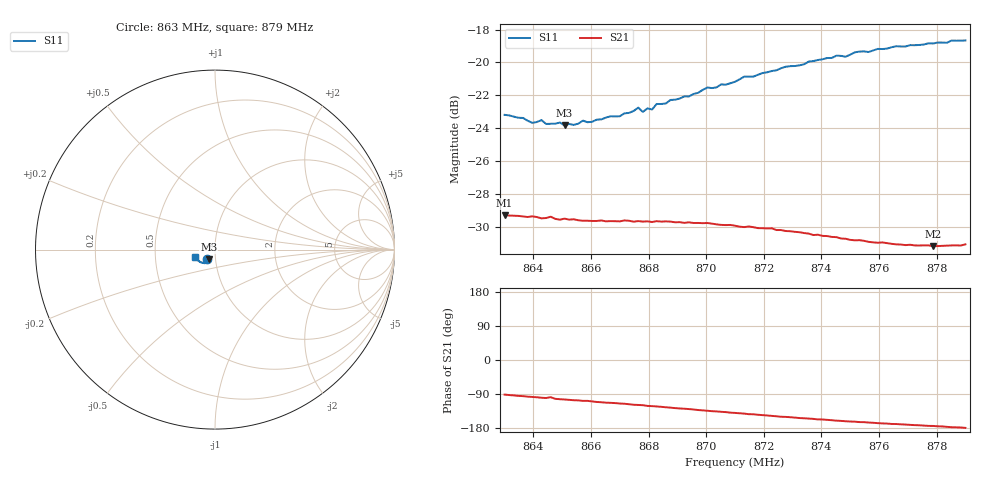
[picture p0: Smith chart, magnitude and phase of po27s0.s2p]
# HZ S RI R 50
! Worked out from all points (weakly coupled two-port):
!   101 points, 863 MHz to 879 MHz, reference 50 ohm
!   highest |S21| = -29.29 dB at 863 MHz (marker M1); lowest = -31.2 dB at 877.88 MHz (marker M2)
!   lowest |S11| = -23.8 dB at 865.08 MHz (marker M3), VSWR 1.14, Z = 46.4 - j5.04 ohm
!   |S11| at or under -10 dB: start of sweep to end of sweep
!   S12 and S22 are empty: the file has one direction only
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8.63e8  -0.0447 -0.053  -0.000787 -0.0343  0 0  0 0
8.6364e8  -0.0417 -0.0535  -0.00316 -0.0339  0 0  0 0
8.6396e8  -0.0385 -0.053  -0.00447 -0.0338  0 0  0 0
8.6428e8  -0.039 -0.0543  -0.00561 -0.0331  0 0  0 0
8.6444e8  -0.038 -0.0528  -0.00602 -0.0331  0 0  0 0
8.6492e8  -0.0373 -0.0541  -0.00774 -0.0324  0 0  0 0
8.6508e8  -0.0348 -0.0541  -0.00821 -0.0325  0 0  0 0
8.6572e8  -0.0349 -0.0567  -0.0102 -0.0314  0 0  0 0
8.6604e8  -0.0338 -0.0567  -0.0109 -0.0311  0 0  0 0
8.67e8  -0.0342 -0.0595  -0.0138 -0.0298  0 0  0 0
8.6764e8  -0.0353 -0.0637  -0.0158 -0.0289  0 0  0 0
8.678e8  -0.0336 -0.0623  -0.0161 -0.0286  0 0  0 0
8.6844e8  -0.0359 -0.0656  -0.0182 -0.0274  0 0  0 0
8.694e8  -0.0382 -0.0689  -0.0208 -0.0252  0 0  0 0
8.7004e8  -0.0425 -0.0723  -0.0226 -0.0234  0 0  0 0
8.71e8  -0.0478 -0.0731  -0.0243 -0.0207  0 0  0 0
8.7132e8  -0.05 -0.0755  -0.0247 -0.0197  0 0  0 0
8.7164e8  -0.0512 -0.0747  -0.0253 -0.0189  0 0  0 0
8.7372e8  -0.0677 -0.0749  -0.0272 -0.0124  0 0  0 0
8.7644e8  -0.092 -0.0625  -0.0276 -0.00546  0 0  0 0
8.7788e8  -0.1029 -0.0494  -0.0275 -0.00287  0 0  0 0
8.79e8  -0.1097 -0.0397  -0.028 -0.000432  0 0  0 0
